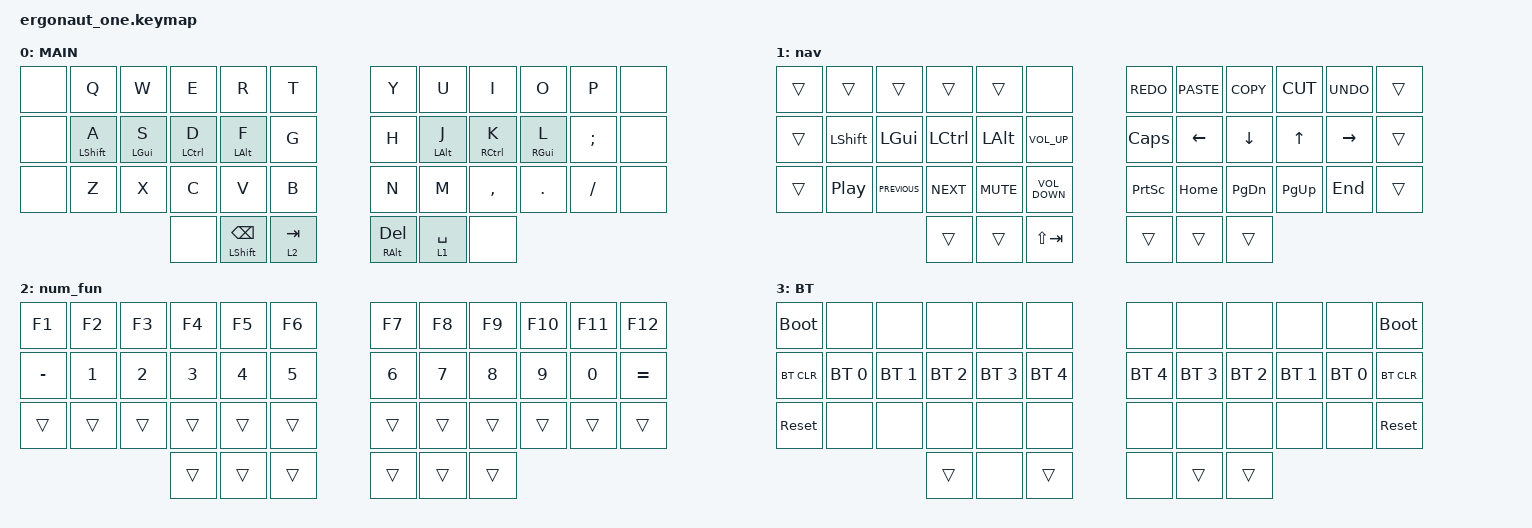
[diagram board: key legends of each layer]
#include <behaviors.dtsi>
#include <dt-bindings/zmk/bt.h>
#include <dt-bindings/zmk/keys.h>

#define DEF 0
#define LWR 1
#define RSE 2
#define ADJ 3

&lt {
    quick-tap-ms = <175>;
    require-prior-idle-ms = <125>;
};

&mt {
    quick-tap-ms = <175>;
    flavor = "balanced";
    require-prior-idle-ms = <125>;
};

/ {
    conditional_layers {
        compatible = "zmk,conditional-layers";

        tri-layer {
            if-layers = <2 1>;
            then-layer = <3>;
        };
    };

    combos {
        compatible = "zmk,combos";

        alt_tab {
            bindings = <&kp LA(TAB)>;
            key-positions = <38 16>;
            layers = <0>;
        };

        enter {
            bindings = <&kp ENTER>;
            key-positions = <19 20>;
            require-prior-idle-ms = <125>;
            layers = <0>;
        };

        escape {
            bindings = <&kp ESCAPE>;
            key-positions = <16 15>;
            require-prior-idle-ms = <125>;
            layers = <0>;
        };

        apostrophe {
            bindings = <&kp APOSTROPHE>;
            key-positions = <8 7>;
            require-prior-idle-ms = <125>;
            layers = <0>;
        };

        grave {
            bindings = <&kp GRAVE>;
            key-positions = <32 31>;
            require-prior-idle-ms = <125>;
            layers = <0>;
        };

        sleep {
            bindings = <&kp K_SLEEP>;
            key-positions = <2 3>;
            require-prior-idle-ms = <125>;
            layers = <1>;
        };
    };

    keymap {
        compatible = "zmk,keymap";

        default_layer {
            display-name = "MAIN";
            bindings = <
&none  &kp Q        &kp W           &kp E               &kp R                     &kp T      &kp Y                 &kp U           &kp I                &kp O            &kp P     &none
&none  &mt LSHFT A  &mt LEFT_GUI S  &mt LEFT_CONTROL D  &mt LEFT_ALT F            &kp G      &kp H                 &mt LEFT_ALT J  &mt RIGHT_CONTROL K  &mt RIGHT_GUI L  &kp SEMI  &none
&none  &kp Z        &kp X           &kp C               &kp V                     &kp B      &kp N                 &kp M           &kp COMMA            &kp DOT          &kp FSLH  &none
                                    &none               &mt LEFT_SHIFT BACKSPACE  &lt 2 TAB  &mt RIGHT_ALT DELETE  &lt 1 SPACE     &none
            >;
        };

        nav {
            bindings = <
&trans  &trans            &trans          &trans            &trans        &none              &kp K_REDO       &kp K_PASTE  &kp K_COPY     &kp K_CUT     &kp K_UNDO  &trans
&trans  &kp LEFT_SHIFT    &kp LEFT_GUI    &kp LEFT_CONTROL  &kp LEFT_ALT  &kp C_VOLUME_UP    &kp CAPSLOCK     &kp LEFT     &kp DOWN       &kp UP_ARROW  &kp RIGHT   &trans
&trans  &kp C_PLAY_PAUSE  &kp C_PREVIOUS  &kp C_NEXT        &kp C_MUTE    &kp C_VOLUME_DOWN  &kp PRINTSCREEN  &kp HOME     &kp PAGE_DOWN  &kp PAGE_UP   &kp END     &trans
                                          &trans            &trans        &kp LS(TAB)        &trans           &trans       &trans
            >;

            label = "nav";
        };

        num_fun {
            bindings = <
&kp F1     &kp F2  &kp F3  &kp F4  &kp F5  &kp F6  &kp F7  &kp F8  &kp F9  &kp F10  &kp F11  &kp F12
&kp MINUS  &kp N1  &kp N2  &kp N3  &kp N4  &kp N5  &kp N6  &kp N7  &kp N8  &kp N9   &kp N0   &kp EQUAL
&trans     &trans  &trans  &trans  &trans  &trans  &trans  &trans  &trans  &trans   &trans   &trans
                           &trans  &trans  &trans  &trans  &trans  &trans
            >;
        };

        bt_layer {
            display-name = "BT";
            bindings = <
&bootloader  &none         &none         &none         &none         &none         &none         &none         &none         &none         &none         &bootloader
&bt BT_CLR   &bt BT_SEL 0  &bt BT_SEL 1  &bt BT_SEL 2  &bt BT_SEL 3  &bt BT_SEL 4  &bt BT_SEL 4  &bt BT_SEL 3  &bt BT_SEL 2  &bt BT_SEL 1  &bt BT_SEL 0  &bt BT_CLR
&sys_reset   &none         &none         &none         &none         &none         &none         &none         &none         &none         &none         &sys_reset
                                         &trans        &none         &trans        &none         &trans        &trans
            >;
        };
    };
};
